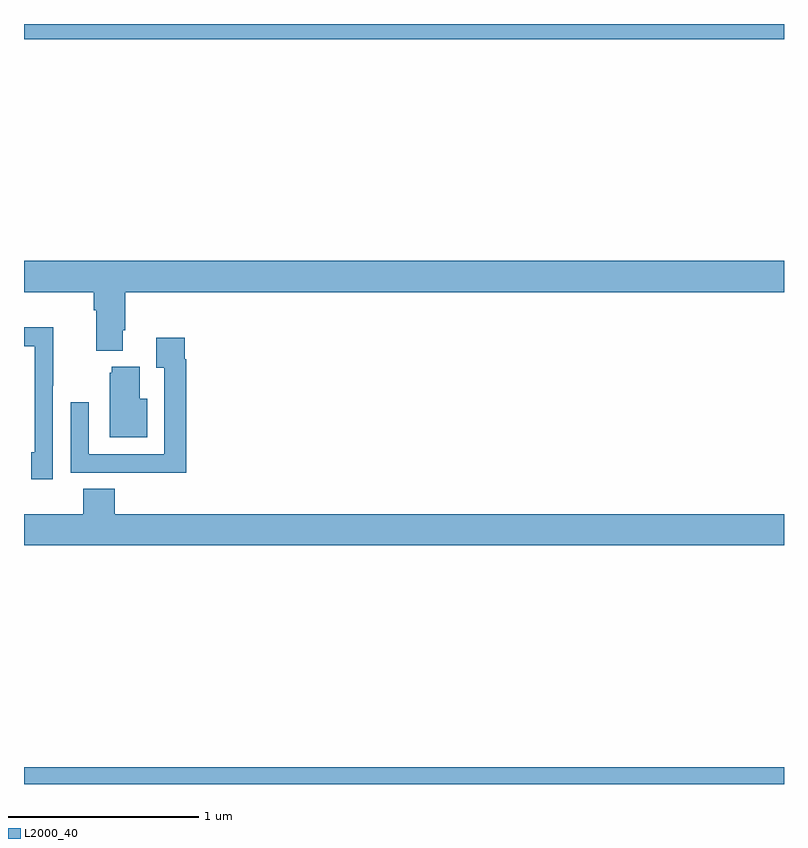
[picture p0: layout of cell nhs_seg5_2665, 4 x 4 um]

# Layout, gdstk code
import gdstk
lib = gdstk.Library(unit=1e-6, precision=1e-09)
def R(c, l, rs):  # rectangles x0, y0, x1, y1
    for r in rs: c.add(gdstk.rectangle(r[:2], r[2:], *l))
def P(c, l, *ps):  # polygons
    for p in ps: c.add(gdstk.Polygon(p, *l))
L2000_40 = (2000, 40)

nhs_seg5_2665 = lib.new_cell('nhs_seg5_2665')
R(nhs_seg5_2665, L2000_40, [(265,892.799,269,892.888), (265,896.72,269,896.799)])
P(nhs_seg5_2665, L2000_40, [(265.519,895.186),(265.532,895.186),(265.532,895.388),(269,895.388),(269,895.552),(265,895.552),(265,895.388),(265.367,895.388),(265.367,895.292),(265.379,895.292),(265.379,895.079),(265.519,895.079)],
  [(265.152,894.895),(265.155,894.895),(265.155,895.202),(265,895.202),(265,895.104),(265.056,895.104),(265.056,894.546),(265.037,894.546),(265.037,894.402),(265.152,894.402)],
  [(265.853,895.034),(265.846,895.034),(265.846,895.147),(265.697,895.147),(265.697,894.991),(265.737,894.991),(265.737,894.534),(265.341,894.534),(265.341,894.808),(265.245,894.808),(265.245,894.438),(265.561,894.438),(265.561,894.437),(265.853,894.437)],
  [(265.648,894.826),(265.609,894.826),(265.609,894.994),(265.463,894.994),(265.463,894.963),(265.451,894.963),(265.451,894.623),(265.648,894.623)],
  [(269,894.22),(265.478,894.22),(265.478,894.353),(265.313,894.353),(265.313,894.22),(265,894.22),(265,894.056),(269,894.056)])

lib.write_gds('nhs_seg5_2665.gds')
